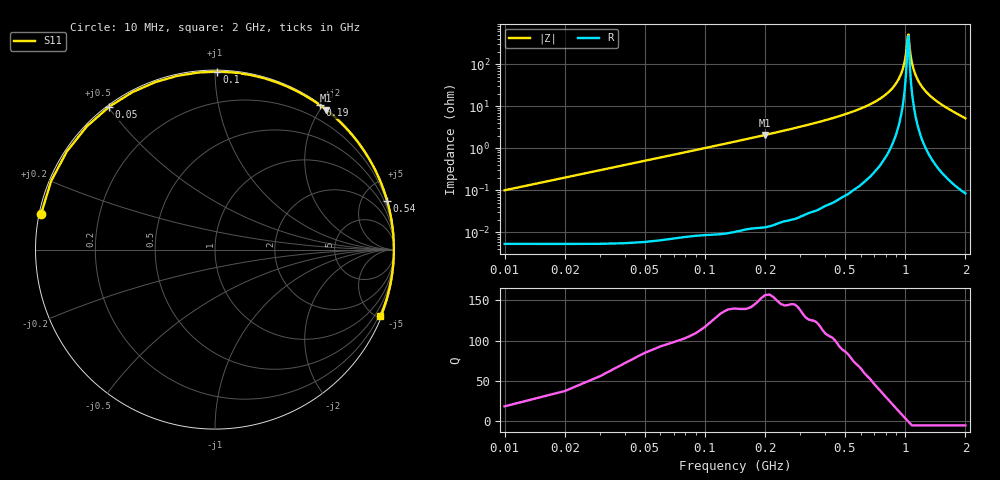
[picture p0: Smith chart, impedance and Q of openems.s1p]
! H_s8_cap_5: PDN loop: BGA pin field to a 0402 capacitor 5 mm away
! stackup: 8-layer 1.6 mm FR-4 (generic)
! ports: 1 IC pins
! openEMS 0.37.0, staircase, fine mesh (dfine 0.035 mm), 2477520 cells
# Hz S RI R 1
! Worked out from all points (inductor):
!   200 points, 10 MHz to 2 GHz, reference 1 ohm
!   read as one part to ground: L = 1.6 nH near 20 MHz
!   highest Q = 154 at 200 MHz (marker M1), where L = 1.65 nH
!   self-resonance near 1.03 GHz
!   S11 on the Smith chart (normalised r, x): 10 MHz: 0.01, +0.10; 50 MHz: 0.01, +0.50; 100 MHz: 0.01, +1.01; 190 MHz: 0.01, +1.97; 540 MHz: 0.09, +7.28; 2 GHz: 0.08, -5.16
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1e7  -0.9697 0.1967
2e7  -0.913 0.3823
3e7  -0.8251 0.5475
4e7  -0.7143 0.6862
5e7  -0.5897 0.7959
6e7  -0.4598 0.8774
7e7  -0.3311 0.9335
8e7  -0.2081 0.9685
1e8  0.0119 0.9914
1.2e8  0.1939 0.9736
1.4e8  0.34 0.9333
1.6e8  0.4554 0.8831
1.9e8  0.5857 0.804
2e8  0.6204 0.7779
2.3e8  0.7043 0.7032
2.6e8  0.7657 0.6363
3e8  0.8249 0.5581
3.6e8  0.8826 0.462
4.3e8  0.9237 0.3737
5.1e8  0.9521 0.2943
5.4e8  0.9596 0.2687
6.4e8  0.9771 0.196
7.6e8  0.9887 0.1255
1.01e9  0.9964 0.0106
1.26e9  0.9925 -0.0851
1.51e9  0.98 -0.1758
1.76e9  0.9576 -0.2702
2e9  0.922 -0.3711
